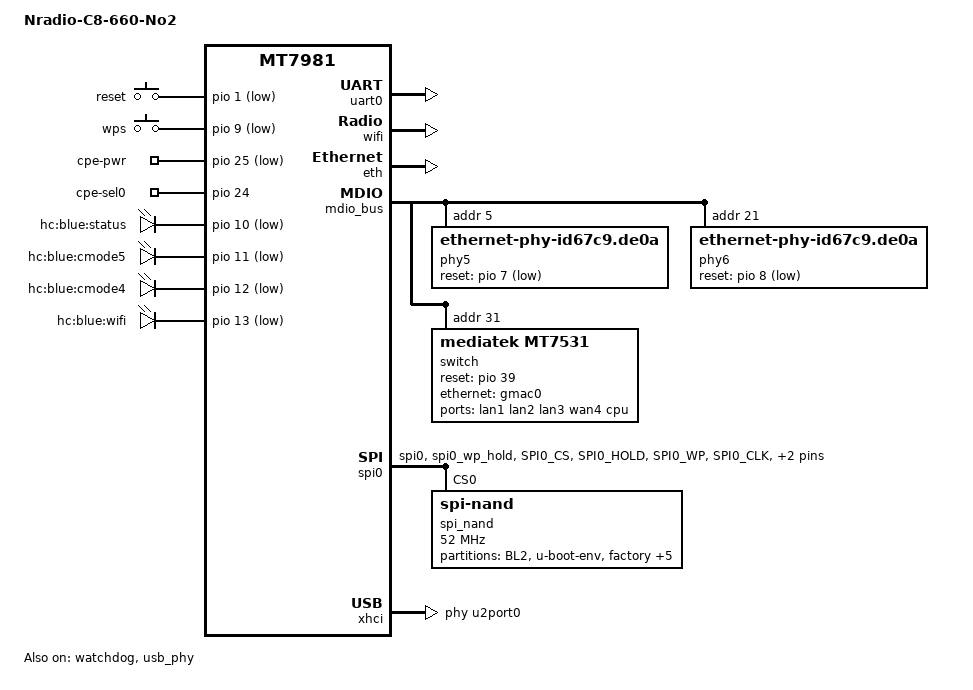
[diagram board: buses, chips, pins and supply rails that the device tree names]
// SPDX-License-Identifier: GPL-2.0-or-later OR MIT

/dts-v1/;

#include "mt7981b.dtsi"

/ {
	model = "Nradio-C8-660-No2";
	compatible = "HCMT7981-NAND", "mediatek,mt7981-rfb";

	chosen {
		bootargs = "console=ttyS0,115200n1 loglevel=8 earlycon=uart8250,mmio32,0x11002000";
	};

	aliases {
		led-boot = &led_status;
		led-failsafe = &led_status;
		led-running = &led_status;
		led-upgrade = &led_status;
	};

	gpio-keys {
		compatible = "gpio-keys";

		reset {
			label = "reset";
			linux,code = <KEY_RESTART>;
			gpios = <&pio 1 GPIO_ACTIVE_LOW>;
		};

		wps {
			label = "wps";
			linux,code = <KEY_WPS_BUTTON>;
			gpios = <&pio 9 GPIO_ACTIVE_LOW>;
		};
	};

	gpio_export {
		compatible = "gpio-export";
		#size-cells = <0>;

		cpepower {
			gpio-export,name = "cpe-pwr";
			gpio-export,output = <0>;
			gpios = <&pio 25 GPIO_ACTIVE_LOW>;
		};

		cpesel0 {
			gpio-export,name = "cpe-sel0";
			gpio-export,output = <1>;
			gpios = <&pio 24 GPIO_ACTIVE_HIGH>;
		};
	};

	gpio-leds {
		compatible = "gpio-leds";

		led_status: status {
			label = "hc:blue:status";
			gpios = <&pio 10 GPIO_ACTIVE_LOW>;
		};

		cmode5 {
			label = "hc:blue:cmode5";
			gpios = <&pio 11 GPIO_ACTIVE_LOW>;
		};

		cmode4 {
			label = "hc:blue:cmode4";
			gpios = <&pio 12 GPIO_ACTIVE_LOW>;
		};

		wifi {
			label = "hc:blue:wifi";
			gpios = <&pio 13 GPIO_ACTIVE_LOW>;
		};
	};
};

&uart0 {
	status = "okay";
};

&watchdog {
	status = "okay";
};

&wifi {
	nvmem-cells = <&eeprom_factory_0>;
	nvmem-cell-names = "eeprom";
	status = "okay";
};

&pcie {
	status = "disabled";
};

&eth {
	status = "okay";

	gmac0: mac@0 {
		compatible = "mediatek,eth-mac";
		reg = <0>;
		phy-mode = "2500base-x";

		fixed-link {
			speed = <2500>;
			full-duplex;
			pause;
		};
	};

	gmac1: mac@1 {
		compatible = "mediatek,eth-mac";
		reg = <1>;
		phy-mode = "2500base-x";
		phy-handle = <&phy6>;
	};
};

&mdio_bus {
	/delete-node/ ethernet-phy@0;

	phy5: ethernet-phy@5 {
		compatible = "ethernet-phy-id67c9.de0a";
		reg = <5>;
		reset-gpios = <&pio 7 GPIO_ACTIVE_LOW>;
		reset-assert-us = <600>;
		reset-deassert-us = <20000>;
		phy-mode = "2500base-x";
	};

	phy6: ethernet-phy@15 {
		compatible = "ethernet-phy-id67c9.de0a";
		reg = <0x15>;
		reset-gpios = <&pio 8 GPIO_ACTIVE_LOW>;
		reset-assert-us = <600>;
		reset-deassert-us = <20000>;
		phy-mode = "2500base-x";
	};

	switch: switch@1f {
		compatible = "mediatek,mt7531";
		reg = <31>;
		reset-gpios = <&pio 39 GPIO_ACTIVE_HIGH>;

		ports {
			#address-cells = <1>;
			#size-cells = <0>;

			port@1 {
				reg = <1>;
				label = "lan1";
			};

			port@2 {
				reg = <2>;
				label = "lan2";
			};

			port@3 {
				reg = <3>;
				label = "lan3";
			};

			port@5 {
				reg = <5>;
				label = "wan4";
				phy-mode = "2500base-x";
				phy-handle = <&phy5>;
			};

			port@6 {
				reg = <6>;
				label = "cpu";
				ethernet = <&gmac0>;
				phy-mode = "2500base-x";

				fixed-link {
					speed = <2500>;
					full-duplex;
					pause;
				};
			};
		};
	};
};

&pio {
	spi0_flash_pins: spi0-pins {
		mux {
			function = "spi";
			groups = "spi0", "spi0_wp_hold";
		};

		conf-pu {
			pins = "SPI0_CS", "SPI0_HOLD", "SPI0_WP";
			drive-strength = <MTK_DRIVE_8mA>;
			bias-pull-up = <MTK_PUPD_SET_R1R0_11>;
		};

		conf-pd {
			pins = "SPI0_CLK", "SPI0_MOSI", "SPI0_MISO";
			drive-strength = <MTK_DRIVE_8mA>;
			bias-pull-down = <MTK_PUPD_SET_R1R0_11>;
		};
	};

	spi1_pins: spi1-pins {
		mux {
			function = "spi";
			groups = "spi1_1";
		};
	};
};

&spi0 {
	pinctrl-names = "default";
	pinctrl-0 = <&spi0_flash_pins>;
	status = "okay";

	spi_nand: spi_nand@0 {
		compatible = "spi-nand";
		#address-cells = <1>;
		#size-cells = <1>;
		reg = <0>;

		spi-cal-enable;
		spi-cal-mode = "read-data";
		spi-cal-datalen = <7>;
		spi-cal-data = /bits/ 8 <0x53 0x50 0x49 0x4e 0x41 0x4e 0x44>;
		spi-cal-addrlen = <5>;
		spi-cal-addr = /bits/ 32 <0x0 0x0 0x0 0x0 0x0>;

		spi-max-frequency = <52000000>;
		spi-tx-bus-width = <4>;
		spi-rx-bus-width = <4>;

		mediatek,nmbm;
		mediatek,bmt-max-ratio = <1>;
		mediatek,bmt-max-reserved-blocks = <64>;

		partitions: partitions {
			compatible = "fixed-partitions";
			#address-cells = <1>;
			#size-cells = <1>;

			partition@0 {
				label = "BL2";
				reg = <0x00000000 0x00100000>;
				read-only;
			};

			partition@100000 {
				label = "u-boot-env";
				reg = <0x00100000 0x00080000>;
			};

			factory: partition@180000 {
				label = "factory";
				reg = <0x00180000 0x00180000>;

				nvmem-layout {
					compatible = "fixed-layout";
					#address-cells = <1>;
					#size-cells = <1>;

					eeprom_factory_0: eeprom@0 {
						reg = <0x0 0x1000>;
					};
				};
			};

			partition@300000 {
				label = "bdinfo";
				reg = <0x00300000 0x00080000>;
			};

			partition@380000 {
				label = "FIP";
				reg = <0x00380000 0x00200000>;
			};

			partition@580000 {
				label = "ubi_1st";
				reg = <0x00580000 0x04000000>;
			};

			partition@4580000 {
				label = "app_data";
				reg = <0x04580000 0x01000000>;
			};

			partition@5580000 {
				label = "ubi";
				reg = <0x05580000 0x1aa80000>;
			};
		};
	};
};

&spi1 {
	pinctrl-names = "default";
	pinctrl-0 = <&spi1_pins>;
	status = "disabled";

	slb9670@0 {
		compatible = "infineon,slb9670";
		reg = <0>;
		#address-cells = <1>;
		#size-cells = <0>;
		spi-cal-enable;
		spi-cal-mode = "read-data";
		spi-cal-datalen = <2>;
		spi-cal-data = /bits/ 8 <0x00 0x1b>;
		spi-max-frequency = <20000000>;
	};
};

&xhci {
	phys = <&u2port0 PHY_TYPE_USB2>;
	mediatek,u3p-dis-msk = <0x01>;
	status = "okay";
};

&usb_phy {
	status = "okay";
};
